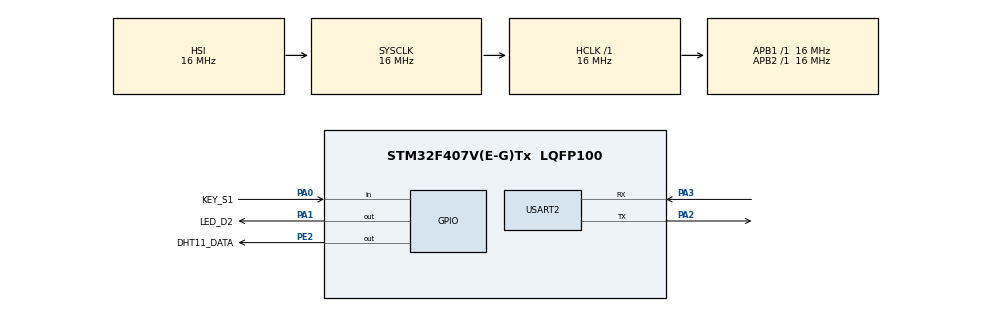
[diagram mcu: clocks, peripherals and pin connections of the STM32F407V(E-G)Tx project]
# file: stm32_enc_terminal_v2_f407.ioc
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Mcu.Family=STM32F4
Mcu.Name=STM32F407V(E-G)Tx
Mcu.Package=LQFP100
NVIC.PriorityGroup=NVIC_PRIORITYGROUP_4
NVIC.USART2_IRQn=true\:0\:0\:false\:false\:true\:true\:true\:true
PA0-WKUP.GPIO_Label=KEY_S1
PA0-WKUP.GPIO_PuPd=GPIO_PULLDOWN
PA0-WKUP.Signal=GPIO_Input
PA1.GPIO_Label=LED_D2
PA1.PinState=GPIO_PIN_SET
PA1.Signal=GPIO_Output
PA13.Mode=Serial_Wire
PA13.Signal=SYS_JTMS-SWDIO
PA14.Mode=Serial_Wire
PA14.Signal=SYS_JTCK-SWCLK
PA2.Mode=Asynchronous
PA2.Signal=USART2_TX
PA3.Mode=Asynchronous
PA3.Signal=USART2_RX
PE2.GPIO_Label=DHT11_DATA
PE2.GPIO_ModeDefaultOutputPP=GPIO_MODE_OUTPUT_OD
PE2.GPIO_PuPd=GPIO_NOPULL
PE2.PinState=GPIO_PIN_SET
PE2.Signal=GPIO_Output
ProjectManager.HeapSize=0x200
ProjectManager.StackSize=0x400
ProjectManager.TargetToolchain=MDK-ARM V5
RCC.AHBFreq_Value=16000000
RCC.APB1Freq_Value=16000000
RCC.APB2Freq_Value=16000000
RCC.CortexFreq_Value=16000000
RCC.HSE_VALUE=25000000
RCC.HSI_VALUE=16000000
RCC.LSE_VALUE=32768
RCC.SYSCLKFreq_VALUE=16000000
RCC.VCOOutputFreq_Value=192000000
TIM6.Prescaler=15
USART2.VirtualMode=VM_ASYNC
VP_TIM6_VS_ClockSourceINT.Mode=Enable_Timer
board=custom

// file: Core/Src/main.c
/* USER CODE BEGIN Header */
/**
  ******************************************************************************
  * @file           : main.c
  * @brief          : Main program body
  ******************************************************************************
  * @attention
  *
  * Copyright (c) 2026 STMicroelectronics.
  * All rights reserved.
  *
  * This software is licensed under terms that can be found in the LICENSE file
  * in the root directory of this software component.
  * If no LICENSE file comes with this software, it is provided AS-IS.
  *
  ******************************************************************************
  */
/* USER CODE END Header */
#include "main.h"

/* USER CODE BEGIN Includes */
#include <stdio.h>
#include "board_config.h"
#include <string.h>
/* USER CODE END Includes */

/* USER CODE BEGIN PD */
#define DHT11_SAMPLE_PERIOD_MS    2000U
#define UART2_RX_BUFFER_SIZE    64U
/* USER CODE END PD */

TIM_HandleTypeDef htim6;

UART_HandleTypeDef huart2;

/* USER CODE BEGIN PV */
static uint8_t uart2_rx_byte = 0U;
static char uart2_rx_buffer[UART2_RX_BUFFER_SIZE];

static volatile uint16_t uart2_rx_index = 0U;
static volatile uint8_t uart2_line_ready = 0U;
static volatile uint8_t uart2_line_invalid = 0U;
static volatile uint32_t uart2_error_code = HAL_UART_ERROR_NONE;
static volatile uint8_t uart2_error_pending = 0U;
static volatile uint8_t uart2_rx_restart_failed = 0U;
/* USER CODE END PV */

void SystemClock_Config(void);
static void MX_GPIO_Init(void);
static void MX_USART2_UART_Init(void);
static void MX_TIM6_Init(void);

/* USER CODE BEGIN 0 */
static int8_t dht11_failed_bit;
int fputc(int ch, FILE *f)
{
    uint8_t data = (uint8_t)ch;

    (void)f;

    HAL_UART_Transmit(BOARD_DEBUG_UART_HANDLE,
                      &data,
                      1,
                      HAL_MAX_DELAY);

    return ch;
}
static void delay_us(uint16_t time){
	__HAL_TIM_SET_COUNTER(&htim6,0);
	while (__HAL_TIM_GET_COUNTER(&htim6) < time){
		}

	}
static void DHT11_Data_SetOutput(void){
	GPIO_InitTypeDef GPIO_InitStruct = {0};
	GPIO_InitStruct.Pin=BOARD_DHT11_GPIO_PIN;
	GPIO_InitStruct.Mode=GPIO_MODE_OUTPUT_OD;
	GPIO_InitStruct.Pull=GPIO_NOPULL;
	GPIO_InitStruct.Speed=GPIO_SPEED_FREQ_LOW;
	HAL_GPIO_Init(BOARD_DHT11_GPIO_PORT,&GPIO_InitStruct);
}
static void DHT11_Data_SetInput(void){
	GPIO_InitTypeDef GPIO_InitStruct = {0};
	GPIO_InitStruct.Pin=BOARD_DHT11_GPIO_PIN;
	GPIO_InitStruct.Mode=GPIO_MODE_INPUT;
	GPIO_InitStruct.Pull=GPIO_NOPULL;
	HAL_GPIO_Init(BOARD_DHT11_GPIO_PORT,&GPIO_InitStruct);
}
static uint8_t DHT11_WaitForLevel(
    GPIO_PinState target_level,
    uint16_t timeout_us
){
	__HAL_TIM_SET_COUNTER(&htim6,0);
	while  (HAL_GPIO_ReadPin(BOARD_DHT11_GPIO_PORT,BOARD_DHT11_GPIO_PIN)!=target_level){
		if (__HAL_TIM_GET_COUNTER(&htim6)>=timeout_us){
			return 0;}
		}
	return 1;
	}
static uint8_t DHT11_CheckResponse(void){
	DHT11_Data_SetOutput();
	HAL_GPIO_WritePin(BOARD_DHT11_GPIO_PORT,BOARD_DHT11_GPIO_PIN,GPIO_PIN_RESET);
	HAL_Delay(20);
	HAL_GPIO_WritePin(BOARD_DHT11_GPIO_PORT,BOARD_DHT11_GPIO_PIN,GPIO_PIN_SET);
	delay_us(30);
	DHT11_Data_SetInput();
	if (!DHT11_WaitForLevel(GPIO_PIN_RESET,100)){
		return 0;}
	if (!DHT11_WaitForLevel(GPIO_PIN_SET,100)){
		return 0;}
	if (!DHT11_WaitForLevel(GPIO_PIN_RESET,100)){
		return 0;}
	return 1;
}
static int8_t DHT11_ReadBit(void){
	GPIO_PinState sampled_level;
	if(!DHT11_WaitForLevel(GPIO_PIN_SET,100)){
		return -1;}
	delay_us(40);
	sampled_level=HAL_GPIO_ReadPin(BOARD_DHT11_GPIO_PORT,BOARD_DHT11_GPIO_PIN);
	if(!DHT11_WaitForLevel(GPIO_PIN_RESET,100)){
		return -1;}
	if(sampled_level==GPIO_PIN_SET){
		return 1;}
	else{
		return 0;}
}
static uint8_t DHT11_ReadData(uint8_t data[5]){
	uint8_t i = 0U;
	uint8_t byte_index;
	uint8_t bit_index;
	int8_t level;
	dht11_failed_bit = -1;
	for (uint8_t j = 0; j < 5; j++)
	{
    data[j] = 0U;
	}
	while(i<40){
		byte_index = i / 8;
		bit_index = 7 - (i % 8);
		level=DHT11_ReadBit();
		if (level==-1){
			dht11_failed_bit=(int)i;
			return 0;}
		if (level==1){
			data[byte_index] |= (1U << bit_index);
		}
		i=i+1;
	}
	return  1;
}
static uint8_t DHT11_ChecksumIsValid(const uint8_t data[5]){
	uint8_t check_data=data[0]+data[1]+data[2]+data[3];
	if (check_data==data[4]){
		return 1;
	}
	return 0;
}
static uint8_t Board_LED_SetAndVerify(GPIO_PinState target_level)
{
    HAL_GPIO_WritePin(BOARD_LED_GPIO_PORT,
                      BOARD_LED_GPIO_PIN,
                      target_level);

    if (HAL_GPIO_ReadPin(BOARD_LED_GPIO_PORT,
                         BOARD_LED_GPIO_PIN) == target_level)
    {
        return 1U;
    }

    return 0U;
}
/* USER CODE END 0 */

int main(void)
{

  /* USER CODE BEGIN 1 */
	GPIO_PinState key_s1_status = BOARD_KEY_INACTIVE_LEVEL;
	GPIO_PinState last_key_s1_status=BOARD_KEY_INACTIVE_LEVEL;
	GPIO_PinState waiting_s1_status=BOARD_KEY_INACTIVE_LEVEL;
	uint32_t start_time = 0U;
	uint32_t last_dht11_sample_time=0U;
	uint8_t dht11_data[5] = {0};
  /* USER CODE END 1 */

  /* MCU Configuration--------------------------------------------------------*/

  /* Reset of all peripherals, Initializes the Flash interface and the Systick. */
  HAL_Init();

  /* Configure the system clock */
  SystemClock_Config();

  /* Initialize all configured peripherals */
  MX_GPIO_Init();
  MX_USART2_UART_Init();
  MX_TIM6_Init();
  /* USER CODE BEGIN 2 */
	printf("board:%s\r\n",BOARD_NAME);
	printf("STM32 Environment Terminal V2 boot OK\r\n");
	printf("DHT11 idle level: %d\r\n",
       HAL_GPIO_ReadPin(BOARD_DHT11_GPIO_PORT,
                        BOARD_DHT11_GPIO_PIN));
	HAL_TIM_Base_Start(&htim6);
	if (HAL_UART_Receive_IT(&huart2, &uart2_rx_byte, 1U) != HAL_OK)
{
    Error_Handler();
}
  /* USER CODE END 2 */

  /* Infinite loop */
  /* USER CODE BEGIN WHILE */
  while (1)
  {
		//printf("count = %lu\r\n", (unsigned long)count);
    //count++;
		//HAL_GPIO_TogglePin(BOARD_LED_GPIO_PORT, BOARD_LED_GPIO_PIN);
		key_s1_status=HAL_GPIO_ReadPin(BOARD_KEY_GPIO_PORT,BOARD_KEY_GPIO_PIN);
		if (waiting_s1_status != key_s1_status){
				start_time=HAL_GetTick();
				waiting_s1_status = key_s1_status;
			}
			if ( HAL_GetTick()-start_time>=20U && waiting_s1_status !=last_key_s1_status){
				last_key_s1_status=waiting_s1_status;
				if (last_key_s1_status ==BOARD_KEY_ACTIVE_LEVEL){
					HAL_GPIO_TogglePin(BOARD_LED_GPIO_PORT,BOARD_LED_GPIO_PIN);
					printf("KEY PRESSED\r\n");
				}
				else if (last_key_s1_status==BOARD_KEY_INACTIVE_LEVEL){
					printf("KEY RELEASED\r\n");}

			}
		uint32_t now=HAL_GetTick();
		if (((uint32_t)now-last_dht11_sample_time)>=DHT11_SAMPLE_PERIOD_MS){
				last_dht11_sample_time=now;
				if (DHT11_CheckResponse()){
					if (!DHT11_ReadData(dht11_data))
				{
							printf("DHT11 read timeout\r\n");
							printf("%u\r\n",dht11_failed_bit);
				}
				else if (!DHT11_ChecksumIsValid(dht11_data))
				{
							printf("DHT11 checksum error\r\n");
				}
				else
				{
							printf("DHT11 raw: %u %u %u %u %u\r\n",(unsigned int)dht11_data[0],(unsigned int)dht11_data[1],(unsigned int)dht11_data[2],(unsigned int)dht11_data[3],(unsigned int)dht11_data[4]);
							printf("temperature:%u.%u\r\n",dht11_data[2],dht11_data[3]);
				}
				}
				else{
					printf("DHT11 response: TIMEOUT\r\n");
						}
			}
		if (uart2_line_ready==1U){
			printf("rx:%s\r\n",uart2_rx_buffer);
			if (strcmp(uart2_rx_buffer, "led_on") == 0)
{
    if (Board_LED_SetAndVerify(BOARD_LED_ACTIVE_LEVEL) == 1U)
    {
        printf("ack:led_on:success\r\n");
    }
    else
    {
        printf("ack:led_on:failed\r\n");
    }
}
else if (strcmp(uart2_rx_buffer, "led_off") == 0)
{
    if (Board_LED_SetAndVerify(BOARD_LED_INACTIVE_LEVEL) == 1U)
    {
        printf("ack:led_off:success\r\n");
    }
    else
    {
        printf("ack:led_off:failed\r\n");
    }
}
else
{
    printf("ack:%s:failed\r\n", uart2_rx_buffer);
}
			uart2_rx_index = 0U;
			uart2_line_ready = 0U;
		}
    /* USER CODE END WHILE */

   }
}

void SystemClock_Config(void)
{
  RCC_OscInitTypeDef RCC_OscInitStruct = {0};
  RCC_ClkInitTypeDef RCC_ClkInitStruct = {0};

  /** Configure the main internal regulator output voltage
  */
  __HAL_RCC_PWR_CLK_ENABLE();
  __HAL_PWR_VOLTAGESCALING_CONFIG(PWR_REGULATOR_VOLTAGE_SCALE1);

  /** Initializes the RCC Oscillators according to the specified parameters
  * in the RCC_OscInitTypeDef structure.
  */
  RCC_OscInitStruct.OscillatorType = RCC_OSCILLATORTYPE_HSI;
  RCC_OscInitStruct.HSIState = RCC_HSI_ON;
  RCC_OscInitStruct.HSICalibrationValue = RCC_HSICALIBRATION_DEFAULT;
  RCC_OscInitStruct.PLL.PLLState = RCC_PLL_NONE;
  if (HAL_RCC_OscConfig(&RCC_OscInitStruct) != HAL_OK)
  {
    Error_Handler();
  }

  /** Initializes the CPU, AHB and APB buses clocks
  */
  RCC_ClkInitStruct.ClockType = RCC_CLOCKTYPE_HCLK|RCC_CLOCKTYPE_SYSCLK
                              |RCC_CLOCKTYPE_PCLK1|RCC_CLOCKTYPE_PCLK2;
  RCC_ClkInitStruct.SYSCLKSource = RCC_SYSCLKSOURCE_HSI;
  RCC_ClkInitStruct.AHBCLKDivider = RCC_SYSCLK_DIV1;
  RCC_ClkInitStruct.APB1CLKDivider = RCC_HCLK_DIV1;
  RCC_ClkInitStruct.APB2CLKDivider = RCC_HCLK_DIV1;

  if (HAL_RCC_ClockConfig(&RCC_ClkInitStruct, FLASH_LATENCY_0) != HAL_OK)
  {
    Error_Handler();
  }
}

static void MX_TIM6_Init(void)
{

  TIM_MasterConfigTypeDef sMasterConfig = {0};

  htim6.Instance = TIM6;
  htim6.Init.Prescaler = 15;
  htim6.Init.CounterMode = TIM_COUNTERMODE_UP;
  htim6.Init.Period = 65535;
  htim6.Init.AutoReloadPreload = TIM_AUTORELOAD_PRELOAD_DISABLE;
  if (HAL_TIM_Base_Init(&htim6) != HAL_OK)
  {
    Error_Handler();
  }
  sMasterConfig.MasterOutputTrigger = TIM_TRGO_RESET;
  sMasterConfig.MasterSlaveMode = TIM_MASTERSLAVEMODE_DISABLE;
  if (HAL_TIMEx_MasterConfigSynchronization(&htim6, &sMasterConfig) != HAL_OK)
  {
    Error_Handler();
  }

}

static void MX_USART2_UART_Init(void)
{

  huart2.Instance = USART2;
  huart2.Init.BaudRate = 115200;
  huart2.Init.WordLength = UART_WORDLENGTH_8B;
  huart2.Init.StopBits = UART_STOPBITS_1;
  huart2.Init.Parity = UART_PARITY_NONE;
  huart2.Init.Mode = UART_MODE_TX_RX;
  huart2.Init.HwFlowCtl = UART_HWCONTROL_NONE;
  huart2.Init.OverSampling = UART_OVERSAMPLING_16;
  if (HAL_UART_Init(&huart2) != HAL_OK)
  {
    Error_Handler();
  }

}

static void MX_GPIO_Init(void)
{
  GPIO_InitTypeDef GPIO_InitStruct = {0};

  /* GPIO Ports Clock Enable */
  __HAL_RCC_GPIOE_CLK_ENABLE();
  __HAL_RCC_GPIOA_CLK_ENABLE();

  /*Configure GPIO pin Output Level */
  HAL_GPIO_WritePin(DHT11_DATA_GPIO_Port, DHT11_DATA_Pin, GPIO_PIN_SET);

  /*Configure GPIO pin Output Level */
  HAL_GPIO_WritePin(LED_D2_GPIO_Port, LED_D2_Pin, GPIO_PIN_SET);

  /*Configure GPIO pin : DHT11_DATA_Pin */
  GPIO_InitStruct.Pin = DHT11_DATA_Pin;
  GPIO_InitStruct.Mode = GPIO_MODE_OUTPUT_OD;
  GPIO_InitStruct.Pull = GPIO_NOPULL;
  GPIO_InitStruct.Speed = GPIO_SPEED_FREQ_LOW;
  HAL_GPIO_Init(DHT11_DATA_GPIO_Port, &GPIO_InitStruct);

  /*Configure GPIO pin : KEY_S1_Pin */
  GPIO_InitStruct.Pin = KEY_S1_Pin;
  GPIO_InitStruct.Mode = GPIO_MODE_INPUT;
  GPIO_InitStruct.Pull = GPIO_PULLDOWN;
  HAL_GPIO_Init(KEY_S1_GPIO_Port, &GPIO_InitStruct);

  /*Configure GPIO pin : LED_D2_Pin */
  GPIO_InitStruct.Pin = LED_D2_Pin;
  GPIO_InitStruct.Mode = GPIO_MODE_OUTPUT_PP;
  GPIO_InitStruct.Pull = GPIO_NOPULL;
  GPIO_InitStruct.Speed = GPIO_SPEED_FREQ_LOW;
  HAL_GPIO_Init(LED_D2_GPIO_Port, &GPIO_InitStruct);

}

/* USER CODE BEGIN 4 */
void HAL_UART_RxCpltCallback(UART_HandleTypeDef *huart)
{
    if (huart->Instance == USART2)
    {
				 if (uart2_line_ready == 0U)
        {
            if (uart2_rx_byte == '\r')
            {}
            else if (uart2_rx_byte == '\n')
            {
								 if (uart2_line_invalid==1U){
										uart2_rx_index=0U;
									  uart2_line_invalid=0U;
								}
								 else if (uart2_rx_index > 0U)
                {
                    uart2_rx_buffer[uart2_rx_index]='\0';
                    uart2_line_ready=1U;
                }
								else{}
            }
            else
            {
							if (uart2_line_invalid==1U){
								}
								else
									{
										if (uart2_rx_byte >= 0x20U && uart2_rx_byte <= 0x7EU){
												if (uart2_rx_index < UART2_RX_BUFFER_SIZE - 1U)
											{
												uart2_rx_buffer[uart2_rx_index]=uart2_rx_byte;
												uart2_rx_index++;
											}
											else{
											uart2_line_invalid=1U;
												uart2_rx_index=0U;
											}
										}
										else{
											uart2_line_invalid=1U;
											uart2_rx_index=0U;}
								}
    }
						HAL_UART_Receive_IT(huart, &uart2_rx_byte, 1U);
	}
}
}
void HAL_UART_ErrorCallback(UART_HandleTypeDef *huart){
	uint32_t current_error;
	HAL_StatusTypeDef restart_status;
	if(huart->Instance == USART2){
		current_error|=huart->ErrorCode;
		uart2_error_code=uart2_error_code|current_error;
		uart2_error_pending=1U;
		uart2_rx_index=0U;
		uart2_line_ready=0U;
		uart2_rx_buffer[0]='\0';
		uart2_line_invalid=1U;
		if ((current_error&HAL_UART_ERROR_ORE)!= 0U){
			restart_status=HAL_UART_Receive_IT(huart,&uart2_rx_byte,1U);
			if((restart_status!=HAL_OK)){
				uart2_rx_restart_failed=1U;
			}
		}
	}
}
/* USER CODE END 4 */

void Error_Handler(void)
{
  __disable_irq();
  while (1)
  {
  }
}
